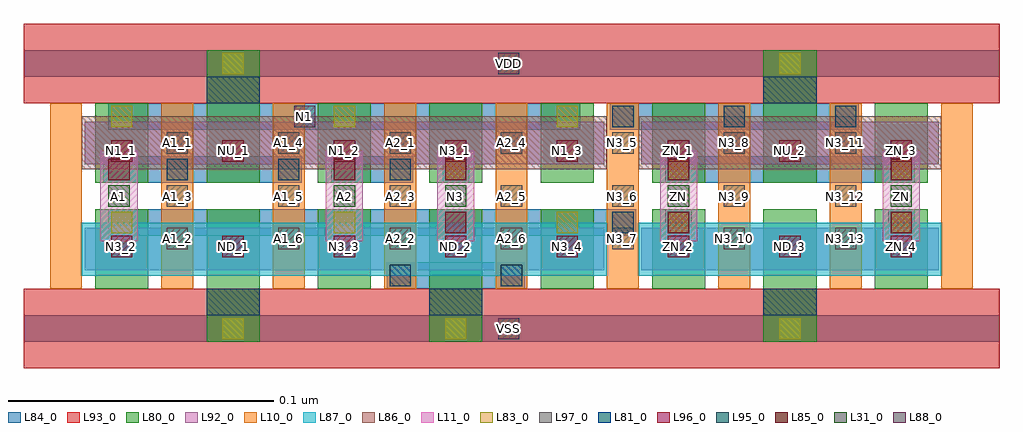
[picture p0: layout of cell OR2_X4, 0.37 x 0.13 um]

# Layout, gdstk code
import gdstk
lib = gdstk.Library(unit=1e-6, precision=1e-09)
def R(c, l, rs):  # rectangles x0, y0, x1, y1
    for r in rs: c.add(gdstk.rectangle(r[:2], r[2:], *l))
def A(c, l, x, y, w, h, nx, ny, dx, dy):  # array of equal rectangles
    R(c, l, [(x+i*dx, y+j*dy, x+i*dx+w, y+j*dy+h) for i in range(nx) for j in range(ny)])
L10_0 = (10, 0)
L11_0 = (11, 0)
L31_0 = (31, 0)
L80_0 = (80, 0)
L81_0 = (81, 0)
L83_0 = (83, 0)
L84_0 = (84, 0)
L85_0 = (85, 0)
L86_0 = (86, 0)
L87_0 = (87, 0)
L88_0 = (88, 0)
L92_0 = (92, 0)
L93_0 = (93, 0)
L95_0 = (95, 0)
L96_0 = (96, 0)
L97_0 = (97, 0)

or2_x4 = lib.new_cell('OR2_X4')
A(or2_x4, L10_0, 0.018, 0.036, 0.012, 0.07, 9, 1, 0.042, 0)
R(or2_x4, L11_0, [(0.037,0.054,0.051,0.088), (0.122,0.054,0.136,0.088), (0.164,0.054,0.178,0.088), (0.164,0.054,0.178,0.088), (0.248,0.054,0.262,0.088), (0.248,0.054,0.262,0.088), (0.332,0.054,0.346,0.088), (0.332,0.054,0.346,0.088)])
A(or2_x4, L31_0, 0.167, 0.067, 0.008, 0.008, 3, 1, 0.084, 0)
R(or2_x4, L31_0, [(0.04,0.067,0.048,0.075), (0.125,0.067,0.133,0.075)])
A(or2_x4, L80_0, 0.035, 0.036, 0.02, 0.03, 8, 2, 0.042, 0.04)
R(or2_x4, L80_0, [(0.077,0.016,0.097,0.046), (0.161,0.016,0.181,0.046), (0.287,0.016,0.307,0.046), (0.077,0.096,0.097,0.126), (0.287,0.096,0.307,0.126)])
R(or2_x4, L81_0, [(0.146,0.037,0.154,0.045), (0.146,0.037,0.154,0.045), (0.188,0.037,0.196,0.045), (0.188,0.037,0.196,0.045), (0.23,0.057,0.238,0.065), (0.23,0.057,0.238,0.065), (0.062,0.077,0.07,0.085), (0.062,0.077,0.07,0.085), (0.104,0.077,0.112,0.085), (0.104,0.077,0.112,0.085), (0.146,0.077,0.154,0.085), (0.23,0.097,0.238,0.105), (0.23,0.097,0.238,0.105), (0.272,0.097,0.28,0.105), (0.272,0.097,0.28,0.105), (0.314,0.097,0.322,0.105), (0.314,0.097,0.322,0.105)])
R(or2_x4, L83_0, [(0.083,0.017,0.091,0.025), (0.167,0.017,0.175,0.025), (0.293,0.017,0.301,0.025), (0.041,0.057,0.049,0.065), (0.041,0.057,0.049,0.065), (0.125,0.057,0.133,0.065), (0.125,0.057,0.133,0.065), (0.209,0.057,0.217,0.065), (0.209,0.057,0.217,0.065), (0.251,0.057,0.259,0.065), (0.251,0.057,0.259,0.065), (0.335,0.057,0.343,0.065), (0.335,0.057,0.343,0.065), (0.167,0.077,0.175,0.085), (0.167,0.077,0.175,0.085), (0.251,0.077,0.259,0.085), (0.251,0.077,0.259,0.085), (0.335,0.077,0.343,0.085), (0.335,0.077,0.343,0.085), (0.041,0.097,0.049,0.105), (0.041,0.097,0.049,0.105), (0.125,0.097,0.133,0.105), (0.125,0.097,0.133,0.105), (0.209,0.097,0.217,0.105), (0.209,0.097,0.217,0.105), (0.083,0.117,0.091,0.125), (0.293,0.117,0.301,0.125)])
A(or2_x4, L84_0, 0.124, 0.056, 0.031, 0.01, 1, 3, 0, 0.02)
R(or2_x4, L84_0, [(0.008,0.016,0.376,0.026), (0.145,0.036,0.176,0.046), (0.145,0.036,0.176,0.046), (0.166,0.036,0.197,0.046), (0.166,0.036,0.197,0.046), (0.04,0.056,0.071,0.066), (0.04,0.056,0.071,0.066), (0.061,0.056,0.092,0.066), (0.061,0.056,0.092,0.066), (0.082,0.056,0.113,0.066), (0.082,0.056,0.113,0.066), (0.103,0.056,0.134,0.066), (0.103,0.056,0.134,0.066), (0.124,0.056,0.155,0.066), (0.145,0.056,0.176,0.066), (0.145,0.056,0.176,0.066), (0.166,0.056,0.197,0.066), (0.166,0.056,0.197,0.066), (0.187,0.056,0.218,0.066), (0.187,0.056,0.218,0.066), (0.208,0.056,0.239,0.066), (0.208,0.056,0.239,0.066), (0.25,0.056,0.26,0.066), (0.25,0.056,0.26,0.066), (0.334,0.056,0.344,0.066), (0.334,0.056,0.344,0.066), (0.038,0.076,0.069,0.086), (0.061,0.076,0.092,0.086), (0.061,0.076,0.092,0.086), (0.082,0.076,0.113,0.086), (0.082,0.076,0.113,0.086), (0.166,0.076,0.176,0.086), (0.166,0.076,0.176,0.086), (0.25,0.076,0.281,0.086), (0.25,0.076,0.281,0.086), (0.271,0.076,0.302,0.086), (0.271,0.076,0.302,0.086), (0.292,0.076,0.323,0.086), (0.292,0.076,0.323,0.086), (0.313,0.076,0.344,0.086), (0.313,0.076,0.344,0.086), (0.04,0.096,0.071,0.106), (0.04,0.096,0.071,0.106), (0.061,0.096,0.092,0.106), (0.061,0.096,0.092,0.106), (0.082,0.096,0.113,0.106), (0.082,0.096,0.113,0.106), (0.103,0.096,0.134,0.106), (0.103,0.096,0.134,0.106), (0.124,0.096,0.155,0.106), (0.145,0.096,0.176,0.106), (0.145,0.096,0.176,0.106), (0.166,0.096,0.197,0.106), (0.166,0.096,0.197,0.106), (0.187,0.096,0.218,0.106), (0.187,0.096,0.218,0.106), (0.229,0.096,0.26,0.106), (0.229,0.096,0.26,0.106), (0.25,0.096,0.281,0.106), (0.25,0.096,0.281,0.106), (0.271,0.096,0.302,0.106), (0.271,0.096,0.302,0.106), (0.292,0.096,0.323,0.106), (0.292,0.096,0.323,0.106), (0.008,0.116,0.376,0.126)])
R(or2_x4, L85_0, [(0.167,0.057,0.175,0.065), (0.167,0.057,0.175,0.065), (0.251,0.057,0.259,0.065), (0.251,0.057,0.259,0.065), (0.335,0.057,0.343,0.065), (0.335,0.057,0.343,0.065), (0.04,0.077,0.048,0.085), (0.125,0.077,0.133,0.085), (0.167,0.077,0.175,0.085), (0.167,0.077,0.175,0.085), (0.251,0.077,0.259,0.085), (0.251,0.077,0.259,0.085), (0.335,0.077,0.343,0.085), (0.335,0.077,0.343,0.085)])
R(or2_x4, L86_0, [(0.03,0.081,0.228,0.101), (0.24,0.081,0.354,0.101)])
R(or2_x4, L87_0, [(0.03,0.041,0.228,0.061), (0.24,0.041,0.354,0.061)])
R(or2_x4, L88_0, [(0.187,0.017,0.195,0.025), (0.11,0.097,0.118,0.105), (0.187,0.117,0.195,0.125)])
R(or2_x4, L92_0, [(0.031,0.043,0.227,0.059), (0.241,0.043,0.353,0.059), (0.031,0.083,0.227,0.099), (0.241,0.083,0.353,0.099)])
R(or2_x4, L93_0, [(0.008,0.006,0.376,0.036), (0.008,0.106,0.376,0.136)])
R(or2_x4, L95_0, [(0.077,0.026,0.097,0.036), (0.161,0.026,0.181,0.036), (0.287,0.026,0.307,0.036), (0.077,0.106,0.097,0.116), (0.287,0.106,0.307,0.116)])
A(or2_x4, L96_0, 0.041, 0.048, 0.008, 0.008, 8, 2, 0.042, 0.036)
A(or2_x4, L97_0, 0.062, 0.051, 0.008, 0.008, 7, 2, 0.042, 0.016)
A(or2_x4, L97_0, 0.062, 0.087, 0.008, 0.008, 7, 1, 0.042, 0)
or2_x4.add(gdstk.Label('A1_1', (0.066,0.091), layer=97, texttype=0))
or2_x4.add(gdstk.Label('A1_2', (0.066,0.055), layer=97, texttype=0))
or2_x4.add(gdstk.Label('A1_3', (0.066,0.071), layer=97, texttype=0))
or2_x4.add(gdstk.Label('A1_4', (0.108,0.091), layer=97, texttype=0))
or2_x4.add(gdstk.Label('A1_6', (0.108,0.055), layer=97, texttype=0))
or2_x4.add(gdstk.Label('A1_5', (0.108,0.071), layer=97, texttype=0))
or2_x4.add(gdstk.Label('A2_3', (0.15,0.071), layer=97, texttype=0))
or2_x4.add(gdstk.Label('A2_2', (0.15,0.055), layer=97, texttype=0))
or2_x4.add(gdstk.Label('A2_1', (0.15,0.091), layer=97, texttype=0))
or2_x4.add(gdstk.Label('A2_5', (0.192,0.071), layer=97, texttype=0))
or2_x4.add(gdstk.Label('A2_6', (0.192,0.055), layer=97, texttype=0))
or2_x4.add(gdstk.Label('A2_4', (0.192,0.091), layer=97, texttype=0))
or2_x4.add(gdstk.Label('N3_5', (0.234,0.091), layer=97, texttype=0))
or2_x4.add(gdstk.Label('N3_7', (0.234,0.055), layer=97, texttype=0))
or2_x4.add(gdstk.Label('N3_6', (0.234,0.071), layer=97, texttype=0))
or2_x4.add(gdstk.Label('N3_8', (0.276,0.091), layer=97, texttype=0))
or2_x4.add(gdstk.Label('N3_10', (0.276,0.055), layer=97, texttype=0))
or2_x4.add(gdstk.Label('N3_9', (0.276,0.071), layer=97, texttype=0))
or2_x4.add(gdstk.Label('N3_12', (0.318,0.071), layer=97, texttype=0))
or2_x4.add(gdstk.Label('N3_13', (0.318,0.055), layer=97, texttype=0))
or2_x4.add(gdstk.Label('N3_11', (0.318,0.091), layer=97, texttype=0))
or2_x4.add(gdstk.Label('N3_2', (0.045,0.052), layer=96, texttype=0))
or2_x4.add(gdstk.Label('N1_1', (0.045,0.088), layer=96, texttype=0))
or2_x4.add(gdstk.Label('ND_1', (0.087,0.052), layer=96, texttype=0))
or2_x4.add(gdstk.Label('NU_1', (0.087,0.088), layer=96, texttype=0))
or2_x4.add(gdstk.Label('N1_2', (0.129,0.088), layer=96, texttype=0))
or2_x4.add(gdstk.Label('N3_3', (0.129,0.052), layer=96, texttype=0))
or2_x4.add(gdstk.Label('N3_1', (0.171,0.088), layer=96, texttype=0))
or2_x4.add(gdstk.Label('ND_2', (0.171,0.052), layer=96, texttype=0))
or2_x4.add(gdstk.Label('N3_4', (0.213,0.052), layer=96, texttype=0))
or2_x4.add(gdstk.Label('N1_3', (0.213,0.088), layer=96, texttype=0))
or2_x4.add(gdstk.Label('ZN_2', (0.255,0.052), layer=96, texttype=0))
or2_x4.add(gdstk.Label('ZN_1', (0.255,0.088), layer=96, texttype=0))
or2_x4.add(gdstk.Label('NU_2', (0.297,0.088), layer=96, texttype=0))
or2_x4.add(gdstk.Label('ND_3', (0.297,0.052), layer=96, texttype=0))
or2_x4.add(gdstk.Label('ZN_3', (0.339,0.088), layer=96, texttype=0))
or2_x4.add(gdstk.Label('ZN_4', (0.339,0.052), layer=96, texttype=0))
or2_x4.add(gdstk.Label('VSS', (0.191,0.021), layer=88, texttype=0))
or2_x4.add(gdstk.Label('VDD', (0.191,0.121), layer=88, texttype=0))
or2_x4.add(gdstk.Label('N1', (0.114,0.101), layer=88, texttype=0))
or2_x4.add(gdstk.Label('A1', (0.044,0.071), layer=31, texttype=0))
or2_x4.add(gdstk.Label('A2', (0.129,0.071), layer=31, texttype=0))
or2_x4.add(gdstk.Label('N3', (0.171,0.071), layer=31, texttype=0))
or2_x4.add(gdstk.Label('ZN', (0.255,0.071), layer=31, texttype=0))
or2_x4.add(gdstk.Label('ZN', (0.339,0.071), layer=31, texttype=0))

lib.write_gds('OR2_X4.gds')
